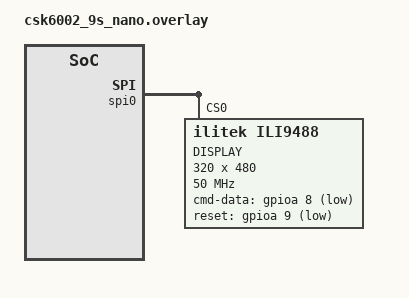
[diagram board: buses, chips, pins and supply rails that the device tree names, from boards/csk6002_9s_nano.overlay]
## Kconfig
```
# SPDX-License-Identifier: Apache-2.0

menu "Example Configuration"

    config DISPLAY_X_RES
        int "X resolution (pixels) for display"
        default 160

    config DISPLAY_Y_RES
        int "Y resolution (pixels) for display"
        default 240

    config FRAME_MEM_PSRAM
        bool "Image data is stored in PSRAM"
        default n
    
    config FRAME_MEM_SRAM
        bool "Image data is stored in SRAM"
        default n

    config DISPLAY_DEV_NAME
        string "display device name"
        default "DISPLAY"

endmenu

source "Kconfig.zephyr"
```

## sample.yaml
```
sample:
  description: Sample application for displays ili9488
  name: display_sample
tests:
  sample.board.csk6.display.kscan:
    platform_allow: csk6011a_nano
    tags: csk6
    harness: console
    timeout: 10
    harness_config:
      type: multi_line
      regex:
        - "display frame:"
```

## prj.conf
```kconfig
CONFIG_HEAP_MEM_POOL_SIZE=4096

#log
CONFIG_LOG=y
CONFIG_LOG_MODE_MINIMAL=y

#hardware
CONFIG_DISPLAY=y
CONFIG_ILI9488=y
CONFIG_SPI=y
CONFIG_GPIO=y

#psram
CONFIG_CSK6_PSRAM=y

#display config
CONFIG_DISPLAY_X_RES=320
CONFIG_DISPLAY_Y_RES=480
CONFIG_FRAME_MEM_PSRAM=y
```

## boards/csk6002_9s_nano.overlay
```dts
#include <dt-bindings/display/ili9xxx.h>

&csk6002_9s_nano_pinctrl{
                pinctrl_spi0_sclk_default: spi0_sclk_default {
                        pinctrls = < SPI0_CLK_GPIOA_07 >;
                };
                pinctrl_spi0_mosi_default: spi0_mosi_default {
                        pinctrls = < SPI0_MOSI_GPIOA_06 >;
                };
                pinctrl_spi0_miso_default: spi0_miso_default {
                        pinctrls = < SPI0_MISO_GPIOA_05 >;
                };
                pinctrl_spi0_cs_default: spi0_cs_default {
                        pinctrls = < SPI0_CS_N_GPIOA_04 >;
                }; 
};

&spi0 {
    status = "okay";
    pinctrl-0 = <&pinctrl_spi0_sclk_default &pinctrl_spi0_mosi_default &pinctrl_spi0_miso_default &pinctrl_spi0_cs_default>; 
    pinctrl-names = "default";

    ili9488@0 {
        height = <480>;
        width = <320>;
        compatible = "ilitek,ili9488";
        label = "DISPLAY";
        spi-max-frequency = <50000000>;
        reg = <0>;
        cmd-data-gpios = <&gpioa 8 1>; 
        reset-gpios = <&gpioa 9 1>; 
        pixel-format = <ILI9XXX_PIXEL_FORMAT_RGB888>;
        rotation = <0>;
        frmctr1 = [a0 11];
        pwctrl1 = [17 15];
        pwctrl2 = [41];
        pgamctrl = [00 03 09 08 16 0a 3f 78 4c 09 0a 08 16 1a 0f];
        ngamctrl = [00 16 19 03 0f 05 32 45 46 04 0e 0d 35 37 0f];
    };
};
```

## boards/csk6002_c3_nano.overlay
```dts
#include <dt-bindings/display/ili9xxx.h>

&csk6002_c3_nano_pinctrl{
                pinctrl_spi0_sclk_default: spi0_sclk_default {
                        pinctrls = < SPI0_CLK_GPIOA_07 >;
                };
                pinctrl_spi0_mosi_default: spi0_mosi_default {
                        pinctrls = < SPI0_MOSI_GPIOA_06 >;
                };
                pinctrl_spi0_miso_default: spi0_miso_default {
                        pinctrls = < SPI0_MISO_GPIOA_05 >;
                };
                pinctrl_spi0_cs_default: spi0_cs_default {
                        pinctrls = < SPI0_CS_N_GPIOA_04 >;
                }; 
};

&spi0 {
    status = "okay";
    pinctrl-0 = <&pinctrl_spi0_sclk_default &pinctrl_spi0_mosi_default &pinctrl_spi0_miso_default &pinctrl_spi0_cs_default>; 
    pinctrl-names = "default";

    ili9488@0 {
        height = <480>;
        width = <320>;
        compatible = "ilitek,ili9488";
        label = "DISPLAY";
        spi-max-frequency = <10000000>;
        reg = <0>;
        cmd-data-gpios = <&gpioa 8 1>; 
        reset-gpios = <&gpioa 9 1>; 
        pixel-format = <ILI9XXX_PIXEL_FORMAT_RGB888>;
        rotation = <0>;
        frmctr1 = [a0 11];
        pwctrl1 = [17 15];
        pwctrl2 = [41];
        pgamctrl = [00 03 09 08 16 0a 3f 78 4c 09 0a 08 16 1a 0f];
        ngamctrl = [00 16 19 03 0f 05 32 45 46 04 0e 0d 35 37 0f];
    };
};
```

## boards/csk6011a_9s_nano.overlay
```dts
#include <dt-bindings/display/ili9xxx.h>

&csk6011a_9s_nano_pinctrl{
                pinctrl_spi0_sclk_default: spi0_sclk_default {
                        pinctrls = < SPI0_CLK_GPIOA_07 >;
                };
                pinctrl_spi0_mosi_default: spi0_mosi_default {
                        pinctrls = < SPI0_MOSI_GPIOA_06 >;
                };
                pinctrl_spi0_miso_default: spi0_miso_default {
                        pinctrls = < SPI0_MISO_GPIOA_05 >;
                };
                pinctrl_spi0_cs_default: spi0_cs_default {
                        pinctrls = < SPI0_CS_N_GPIOA_04 >;
                }; 
};

&spi0 {
    status = "okay";
    pinctrl-0 = <&pinctrl_spi0_sclk_default &pinctrl_spi0_mosi_default &pinctrl_spi0_miso_default &pinctrl_spi0_cs_default>; 
    pinctrl-names = "default";

    ili9488@0 {
        height = <480>;
        width = <320>;
        compatible = "ilitek,ili9488";
        label = "DISPLAY";
        spi-max-frequency = <10000000>;
        reg = <0>;
        cmd-data-gpios = <&gpioa 8 1>; 
        reset-gpios = <&gpioa 9 1>; 
        pixel-format = <ILI9XXX_PIXEL_FORMAT_RGB888>;
        rotation = <0>;
        frmctr1 = [a0 11];
        pwctrl1 = [17 15];
        pwctrl2 = [41];
        pgamctrl = [00 03 09 08 16 0a 3f 78 4c 09 0a 08 16 1a 0f];
        ngamctrl = [00 16 19 03 0f 05 32 45 46 04 0e 0d 35 37 0f];
    };
};
```

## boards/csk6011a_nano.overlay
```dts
/*
 * Copyright (c) 2023 Anhui(Shenzhen) Listenai Co., Ltd.
 *
 * SPDX-License-Identifier: Apache-2.0
 */
#include <dt-bindings/display/ili9xxx.h>

&pinctrl {
	pinctrl_spi0_sclk_default: spi0_sclk_default {
		pinctrls = <SPI0_CLK_GPIOA_07>;
	};
	pinctrl_spi0_mosi_default: spi0_mosi_default {
		pinctrls = <SPI0_MOSI_GPIOA_06>;
	};
	pinctrl_spi0_miso_default: spi0_miso_default {
		pinctrls = <SPI0_MISO_GPIOA_05>;
	};
	pinctrl_spi0_cs_default: spi0_cs_default {
		pinctrls = <SPI0_CS_N_GPIOA_04>;
	};
};

&spi0 {
	status = "okay";
	pinctrl-0 = <&pinctrl_spi0_sclk_default &pinctrl_spi0_mosi_default &pinctrl_spi0_miso_default &pinctrl_spi0_cs_default>;
	pinctrl-names = "default";

	ili9488@0 {
		height = <480>;
		width = <320>;
		compatible = "ilitek,ili9488";
		label = "DISPLAY";
		spi-max-frequency = <10000000>;
		reg = <0>;
		cmd-data-gpios = <&gpioa 8 1>;
		reset-gpios = <&gpioa 9 1>;
		pixel-format = <ILI9XXX_PIXEL_FORMAT_RGB888>;
		rotation = <0>;
		frmctr1 = [ a0 11  ];
		pwctrl1 = [ 17 15  ];
		pwctrl2 = [ 41  ];
		pgamctrl = [ 00 03 09 08 16 0a 3f 78 4c 09 0a 08 16 1a 0f  ];
		ngamctrl = [ 00 16 19 03 0f 05 32 45 46 04 0e 0d 35 37 0f  ];
	};
};
```

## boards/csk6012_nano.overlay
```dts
/*
 * Copyright (c) 2023 Anhui(Shenzhen) Listenai Co., Ltd.
 *
 * SPDX-License-Identifier: Apache-2.0
 */
#include <dt-bindings/display/ili9xxx.h>

&csk6011a_9s_nano_pinctrl {
	pinctrl_spi0_sclk_default: spi0_sclk_default {
		pinctrls = <SPI0_CLK_GPIOA_07>;
	};
	pinctrl_spi0_mosi_default: spi0_mosi_default {
		pinctrls = <SPI0_MOSI_GPIOA_06>;
	};
	pinctrl_spi0_miso_default: spi0_miso_default {
		pinctrls = <SPI0_MISO_GPIOA_05>;
	};
	pinctrl_spi0_cs_default: spi0_cs_default {
		pinctrls = <SPI0_CS_N_GPIOA_04>;
	};
};

&spi0 {
	status = "okay";
	pinctrl-0 = <&pinctrl_spi0_sclk_default &pinctrl_spi0_mosi_default &pinctrl_spi0_miso_default &pinctrl_spi0_cs_default>;
	pinctrl-names = "default";

	ili9488@0 {
		height = <480>;
		width = <320>;
		compatible = "ilitek,ili9488";
		label = "DISPLAY";
		spi-max-frequency = <10000000>;
		reg = <0>;
		cmd-data-gpios = <&gpioa 8 1>;
		reset-gpios = <&gpioa 9 1>;
		pixel-format = <ILI9XXX_PIXEL_FORMAT_RGB888>;
		rotation = <0>;
		frmctr1 = [ a0 11  ];
		pwctrl1 = [ 17 15  ];
		pwctrl2 = [ 41  ];
		pgamctrl = [ 00 03 09 08 16 0a 3f 78 4c 09 0a 08 16 1a 0f  ];
		ngamctrl = [ 00 16 19 03 0f 05 32 45 46 04 0e 0d 35 37 0f  ];
	};
};
```

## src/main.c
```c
/*
 * Copyright (c) 2023 Anhui(Shenzhen) Listenai Co., Ltd.
 *
 * SPDX-License-Identifier: Apache-2.0
 */

#include <logging/log.h>
LOG_MODULE_REGISTER(sample, LOG_LEVEL_INF);

#include <device.h>
#include <drivers/display.h>
#include <zephyr.h>

#if CONFIG_FRAME_MEM_PSRAM
#define K_HEAP_CUSTOM_SECTION_DEFINE(name, bytes)                                                  \
	Z_HEAP_DEFINE_IN_SECT(name, bytes, __attribute__((section(".psram_section"))))

K_HEAP_CUSTOM_SECTION_DEFINE(display_buffer_pool,
			     CONFIG_DISPLAY_X_RES *CONFIG_DISPLAY_Y_RES * 3 + 128);
#elif CONFIG_FRAME_MEM_SRAM
#define K_HEAP_CUSTOM_SECTION_DEFINE(name, bytes) K_HEAP_DEFINE(name, bytes)

K_HEAP_CUSTOM_SECTION_DEFINE(display_buffer_pool,
			     CONFIG_DISPLAY_X_RES *CONFIG_DISPLAY_Y_RES * 3 + 128);
#else
#error "Must select the memory in which image data is stored"
#endif

enum color {
	COLOR_RED,
	COLOR_GREEN,
	COLOR_BLUE,
	COLOR_CUSTOM
};

typedef void (*fill_buffer)(enum color rgb, uint8_t grey, uint8_t *buf, size_t buf_size);

static void fill_buffer_argb8888(enum color rgb, uint8_t grey, uint8_t *buf, size_t buf_size)
{
	uint32_t color = 0;

	switch (rgb) {
	case COLOR_RED:
		color = 0x00FF0000u;
		break;
	case COLOR_GREEN:
		color = 0x0000FF00u;
		break;
	case COLOR_BLUE:
		color = 0x000000FFu;
		break;
	case COLOR_CUSTOM:
		color = grey << 16 | grey << 8 | grey;
		break;
	}

	for (size_t idx = 0; idx < buf_size; idx += 4) {
		*((uint32_t *)(buf + idx)) = color;
	}
}

static void fill_buffer_rgb888(enum color rgb, uint8_t grey, uint8_t *buf, size_t buf_size)
{
	uint32_t color = 0;

	switch (rgb) {
	case COLOR_RED:
		color = 0x00FF0000u;
		break;
	case COLOR_GREEN:
		color = 0x0000FF00u;
		break;
	case COLOR_BLUE:
		color = 0x000000FFu;
		break;
	case COLOR_CUSTOM:
		color = grey << 16 | grey << 8 | grey;
		break;
	}

	for (size_t idx = 0; idx < buf_size; idx += 3) {
		*(buf + idx + 0) = color >> 16;
		*(buf + idx + 1) = color >> 8;
		*(buf + idx + 2) = color >> 0;
	}
}

static uint16_t get_rgb565_color(enum color rgb, uint8_t grey)
{
	uint16_t color = 0;
	uint16_t grey_5bit;

	switch (rgb) {
	case COLOR_RED:
		color = 0xF800u;
		break;
	case COLOR_GREEN:
		color = 0x07E0u;
		break;
	case COLOR_BLUE:
		color = 0x001Fu;
		break;
	case COLOR_CUSTOM:
		grey_5bit = grey & 0x1Fu;
		/* shift the green an extra bit, it has 6 bits */
		color = grey_5bit << 11 | grey_5bit << (5 + 1) | grey_5bit;
		break;
	}
	return color;
}

static void fill_buffer_rgb565(enum color rgb, uint8_t grey, uint8_t *buf, size_t buf_size)
{
	uint16_t color = get_rgb565_color(rgb, grey);

	for (size_t idx = 0; idx < buf_size; idx += 2) {
		*(buf + idx + 0) = (color >> 8) & 0xFFu;
		*(buf + idx + 1) = (color >> 0) & 0xFFu;
	}
}

static void fill_buffer_bgr565(enum color rgb, uint8_t grey, uint8_t *buf, size_t buf_size)
{
	uint16_t color = get_rgb565_color(rgb, grey);

	for (size_t idx = 0; idx < buf_size; idx += 2) {
		*(uint16_t *)(buf + idx) = color;
	}
}

int calculate_fps(uint32_t in, uint32_t out)
{
	uint32_t time_us;
	time_us = (out - in) * 33 / 10000;
	return 1000000 / time_us;
}

void main(void)
{
	uint8_t *buf;
	const struct device *display_dev;
	struct display_capabilities capabilities;
	struct display_buffer_descriptor buf_desc;
	size_t buf_size = 0;
	uint32_t x_res, y_res, depth;
	fill_buffer fill_buffer_fnc = NULL;

	LOG_INF("Display sample for %s", CONFIG_DISPLAY_DEV_NAME);

	display_dev = device_get_binding(CONFIG_DISPLAY_DEV_NAME);

	if (display_dev == NULL) {
		LOG_ERR("Device %s not found. Aborting sample.", CONFIG_DISPLAY_DEV_NAME);
		return;
	}

	display_get_capabilities(display_dev, &capabilities);
	LOG_INF("display capabilities: x_resolution %d  y_resolution %d  format %d\n",
		capabilities.x_resolution, capabilities.y_resolution,
		capabilities.current_pixel_format);

	x_res = (CONFIG_DISPLAY_X_RES > capabilities.x_resolution) ? (capabilities.x_resolution)
								   : (CONFIG_DISPLAY_X_RES);
	y_res = (CONFIG_DISPLAY_Y_RES > capabilities.y_resolution) ? (capabilities.y_resolution)
								   : (CONFIG_DISPLAY_Y_RES);

	buf_size = x_res * y_res;

	switch (capabilities.current_pixel_format) {
	case PIXEL_FORMAT_ARGB_8888:
		fill_buffer_fnc = fill_buffer_argb8888;
		buf_size *= 4;
		depth = 4;
		break;
	case PIXEL_FORMAT_RGB_888:
		fill_buffer_fnc = fill_buffer_rgb888;
		buf_size *= 3;
		depth = 3;
		break;
	case PIXEL_FORMAT_RGB_565:
		fill_buffer_fnc = fill_buffer_rgb565;
		buf_size *= 2;
		depth = 2;
		break;
	case PIXEL_FORMAT_BGR_565:
		fill_buffer_fnc = fill_buffer_bgr565;
		buf_size *= 2;
		depth = 2;
		break;
	default:
		LOG_ERR("Unsupported pixel format. Aborting sample.");
		return;
	}

	buf = k_heap_alloc(&display_buffer_pool, buf_size, K_FOREVER);
	if (buf == NULL) {
		LOG_ERR("Could not allocate memory. Aborting sample.");
		return;
	}

	buf_desc.buf_size = buf_size;
	buf_desc.pitch = x_res;
	buf_desc.width = x_res;
	buf_desc.height = y_res;

	display_blanking_off(display_dev);

	uint8_t cnt = 0;
	uint32_t timestamp_in, timestamp_out;
	while (1) {
		if (0 == (cnt % 3)) {
			cnt = 0;
		}
		fill_buffer_fnc(cnt++, 0, buf, buf_size);

		timestamp_in = k_cycle_get_32();
		display_write(display_dev, 0, 0, &buf_desc, buf);
		timestamp_out = k_cycle_get_32();
		LOG_INF("display frame: xy (%d %d) depth %d byte, period: %d us, write fps: %d \n",
			x_res, y_res, depth, ((timestamp_out - timestamp_in) * 33) / 10000,
			calculate_fps(timestamp_in, timestamp_out));

		k_msleep(1000);
	}
}
```
